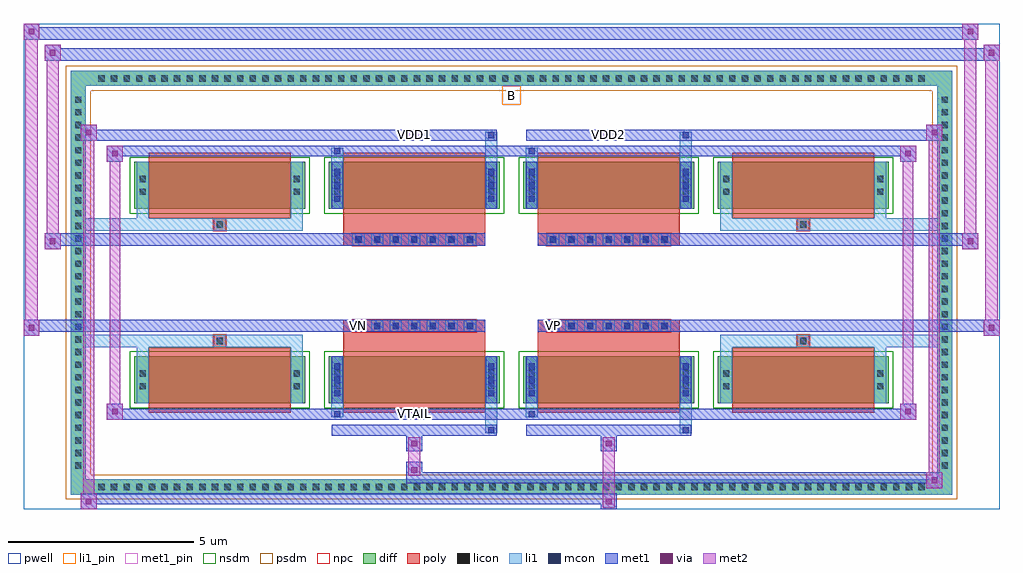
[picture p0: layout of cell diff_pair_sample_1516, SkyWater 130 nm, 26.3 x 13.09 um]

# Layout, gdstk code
import gdstk
lib = gdstk.Library(unit=1e-6, precision=5e-09)
def R(c, l, rs):  # rectangles x0, y0, x1, y1
    for r in rs: c.add(gdstk.rectangle(r[:2], r[2:], *l))
def A(c, l, x, y, w, h, nx, ny, dx, dy):  # array of equal rectangles
    R(c, l, [(x+i*dx, y+j*dy, x+i*dx+w, y+j*dy+h) for i in range(nx) for j in range(ny)])
def P(c, l, *ps):  # polygons
    for p in ps: c.add(gdstk.Polygon(p, *l))
pwell = (64, 44)
diff = (65, 20)
poly = (66, 20)
licon = (66, 44)
li1_pin = (67, 16)
li1 = (67, 20)
mcon = (67, 44)
met1_pin = (68, 16)
met1 = (68, 20)
via = (68, 44)
met2 = (69, 20)
nsdm = (93, 44)
psdm = (94, 20)
npc = (95, 20)

diff_pair_sample_1516 = lib.new_cell('diff_pair_sample_1516')
R(diff_pair_sample_1516, pwell, [(-13.15,-6.11,13.15,6.98), (-10.47,-4.3,-0.01,-0.8), (0.01,-4.3,10.47,-0.8), (-10.47,0.8,-0.01,4.3), (0.01,0.8,10.47,4.3)])
A(diff_pair_sample_1516, diff, -11.255, -5.71, 0.41, 0.41, 66, 2, 0.34, 11.01)
A(diff_pair_sample_1516, diff, -11.88, -5.135, 0.41, 0.41, 1, 30, 0, 0.34)
A(diff_pair_sample_1516, diff, 11.47, -5.135, 0.41, 0.41, 1, 30, 0, 0.34)
A(diff_pair_sample_1516, diff, -10.16, -3.255, 4.6, 1.27, 4, 2, 5.24, 5.24)
R(diff_pair_sample_1516, diff, [(-11.255,-5.71,11.255,-5.3), (-11.88,-5.135,-11.47,5.135), (11.47,-5.135,11.88,5.135), (-11.255,5.3,11.255,5.71)])
P(diff_pair_sample_1516, diff, [(11.88,5.71),(-11.88,5.71),(-11.88,-5.3),(-11.47,-5.3),(-11.47,5.3),(11.47,5.3),(11.47,-5.3),(-11.47,-5.3),(-11.88,-5.3),(-11.88,-5.71),(11.88,-5.71)])
A(diff_pair_sample_1516, poly, -9.77, -3.505, 3.82, 1.77, 4, 2, 5.24, 5.24)
A(diff_pair_sample_1516, poly, -4.285, -1.33, 0.33, 0.33, 7, 2, 0.5, 2.33)
A(diff_pair_sample_1516, poly, 0.955, -1.33, 0.33, 0.33, 7, 2, 0.5, 2.33)
R(diff_pair_sample_1516, poly, [(-8.025,-1.735,-7.695,-1.405), (-8.025,-1.735,-7.695,-1.405), (-4.53,-1.735,-0.71,-1.33), (0.71,-1.735,4.53,-1.33), (7.695,-1.735,8.025,-1.405), (7.695,-1.735,8.025,-1.405), (-4.53,-1.33,-0.71,-1), (0.71,-1.33,4.53,-1), (-4.53,1,-0.71,1.33), (0.71,1,4.53,1.33), (-4.53,1.33,-0.71,1.735), (0.71,1.33,4.53,1.735), (-8.025,1.405,-7.695,1.735), (-8.025,1.405,-7.695,1.735), (7.695,1.405,8.025,1.735), (7.695,1.405,8.025,1.735)])
A(diff_pair_sample_1516, licon, -11.135, -5.59, 0.17, 0.17, 66, 2, 0.34, 11.01)
A(diff_pair_sample_1516, licon, -11.76, -5.015, 0.17, 0.17, 1, 30, 0, 0.34)
A(diff_pair_sample_1516, licon, 11.59, -5.015, 0.17, 0.17, 1, 30, 0, 0.34)
A(diff_pair_sample_1516, licon, -4.205, -1.25, 0.17, 0.17, 7, 2, 0.5, 2.33)
A(diff_pair_sample_1516, licon, 1.035, -1.25, 0.17, 0.17, 7, 2, 0.5, 2.33)
R(diff_pair_sample_1516, licon, [(-10.02,-2.875,-9.85,-2.705), (-5.87,-2.875,-5.7,-2.705), (-4.78,-2.875,-4.61,-2.705), (-0.63,-2.875,-0.46,-2.705), (0.46,-2.875,0.63,-2.705), (4.61,-2.875,4.78,-2.705), (5.7,-2.875,5.87,-2.705), (9.85,-2.875,10.02,-2.705), (-10.02,-2.535,-9.85,-2.365), (-5.87,-2.535,-5.7,-2.365), (-4.78,-2.535,-4.61,-2.365), (-0.63,-2.535,-0.46,-2.365), (0.46,-2.535,0.63,-2.365), (4.61,-2.535,4.78,-2.365), (5.7,-2.535,5.87,-2.365), (9.85,-2.535,10.02,-2.365), (-7.945,-1.655,-7.775,-1.485), (7.775,-1.655,7.945,-1.485), (-7.945,1.485,-7.775,1.655), (7.775,1.485,7.945,1.655), (-10.02,2.365,-9.85,2.535), (-5.87,2.365,-5.7,2.535), (-4.78,2.365,-4.61,2.535), (-0.63,2.365,-0.46,2.535), (0.46,2.365,0.63,2.535), (4.61,2.365,4.78,2.535), (5.7,2.365,5.87,2.535), (9.85,2.365,10.02,2.535), (-10.02,2.705,-9.85,2.875), (-5.87,2.705,-5.7,2.875), (-4.78,2.705,-4.61,2.875), (-0.63,2.705,-0.46,2.875), (0.46,2.705,0.63,2.875), (4.61,2.705,4.78,2.875), (5.7,2.705,5.87,2.875), (9.85,2.705,10.02,2.875)])
R(diff_pair_sample_1516, li1_pin, [(-0.25,4.8,0.25,5.3)])
A(diff_pair_sample_1516, li1, -11.215, -5.67, 0.33, 0.33, 66, 2, 0.34, 11.01)
A(diff_pair_sample_1516, li1, -11.84, -5.095, 0.33, 0.33, 1, 30, 0, 0.34)
A(diff_pair_sample_1516, li1, 11.51, -5.095, 0.33, 0.33, 1, 30, 0, 0.34)
A(diff_pair_sample_1516, li1, -4.78, -3.065, 0.17, 0.17, 1, 3, 0, 0.36)
A(diff_pair_sample_1516, li1, -0.63, -3.065, 0.17, 0.17, 1, 3, 0, 0.36)
A(diff_pair_sample_1516, li1, 0.46, -3.065, 0.17, 0.17, 1, 3, 0, 0.36)
A(diff_pair_sample_1516, li1, 4.61, -3.065, 0.17, 0.17, 1, 3, 0, 0.36)
A(diff_pair_sample_1516, li1, -4.285, -1.33, 0.33, 0.33, 7, 2, 0.5, 2.33)
A(diff_pair_sample_1516, li1, 0.955, -1.33, 0.33, 0.33, 7, 2, 0.5, 2.33)
A(diff_pair_sample_1516, li1, -4.78, 2.175, 0.17, 0.17, 1, 3, 0, 0.36)
A(diff_pair_sample_1516, li1, -0.63, 2.175, 0.17, 0.17, 1, 3, 0, 0.36)
A(diff_pair_sample_1516, li1, 0.46, 2.175, 0.17, 0.17, 1, 3, 0, 0.36)
A(diff_pair_sample_1516, li1, 4.61, 2.175, 0.17, 0.17, 1, 3, 0, 0.36)
R(diff_pair_sample_1516, li1, [(-11.88,-5.71,-11.47,-5.3), (-11.88,-5.71,-11.47,-5.3), (-11.47,-5.71,11.47,-5.3), (11.47,-5.71,11.88,-5.3), (11.47,-5.71,11.88,-5.3), (-11.88,-5.3,-11.47,5.3), (11.47,-5.3,11.88,5.3), (-0.71,-4.06,-0.38,-3.255), (-0.63,-4.06,-0.46,-3.89), (4.53,-4.06,4.86,-3.255), (4.61,-4.06,4.78,-3.89), (-4.86,-3.63,-4.53,-3.255), (-4.78,-3.63,-4.61,-3.46), (0.38,-3.63,0.71,-3.255), (0.46,-3.63,0.63,-3.46), (-10.1,-3.255,-9.77,-1.985), (-5.95,-3.255,-5.62,-1.985), (-4.86,-3.255,-4.53,-1.985), (-0.71,-3.255,-0.38,-1.985), (0.38,-3.255,0.71,-1.985), (4.53,-3.255,4.86,-1.985), (5.62,-3.255,5.95,-1.985), (9.77,-3.255,10.1,-1.985), (-4.78,-3.065,-4.61,-2.175), (-0.63,-3.065,-0.46,-2.175), (0.46,-3.065,0.63,-2.175), (4.61,-3.065,4.78,-2.175), (-10.1,-2.955,-9.77,-2.625), (-5.95,-2.955,-5.62,-2.625), (-4.86,-2.955,-4.53,-2.625), (-0.71,-2.955,-0.38,-2.625), (0.38,-2.955,0.71,-2.625), (4.53,-2.955,4.86,-2.625), (5.62,-2.955,5.95,-2.625), (9.77,-2.955,10.1,-2.625), (-10.1,-2.615,-9.77,-2.285), (-5.95,-2.615,-5.62,-2.285), (-4.86,-2.615,-4.53,-2.285), (-0.71,-2.615,-0.38,-2.285), (0.38,-2.615,0.71,-2.285), (4.53,-2.615,4.86,-2.285), (5.62,-2.615,5.95,-2.285), (9.77,-2.615,10.1,-2.285), (-10.1,-1.985,-9.77,-1.405), (-5.95,-1.985,-5.62,-1.405), (5.62,-1.985,5.95,-1.405), (9.77,-1.985,10.1,-1.405), (-11.88,-1.735,-8.025,-1.405), (-10.1,-1.735,-8.025,-1.405), (-8.025,-1.735,-7.695,-1.405), (-7.695,-1.735,-5.62,-1.405), (5.62,-1.735,7.695,-1.405), (7.695,-1.735,8.025,-1.405), (7.695,-1.735,11.88,-1.405), (8.025,-1.735,10.1,-1.405), (-11.88,1.405,-8.025,1.735), (-10.1,1.405,-8.025,1.735), (-10.1,1.405,-9.77,1.985), (-8.025,1.405,-7.695,1.735), (-7.695,1.405,-5.62,1.735), (-5.95,1.405,-5.62,1.985), (5.62,1.405,7.695,1.735), (5.62,1.405,5.95,1.985), (7.695,1.405,8.025,1.735), (7.695,1.405,11.88,1.735), (8.025,1.405,10.1,1.735), (9.77,1.405,10.1,1.985), (-10.1,1.985,-9.77,3.255), (-5.95,1.985,-5.62,3.255), (-4.86,1.985,-4.53,3.255), (-0.71,1.985,-0.38,3.255), (0.38,1.985,0.71,3.255), (4.53,1.985,4.86,3.255), (5.62,1.985,5.95,3.255), (9.77,1.985,10.1,3.255), (-4.78,2.175,-4.61,3.065), (-0.63,2.175,-0.46,3.065), (0.46,2.175,0.63,3.065), (4.61,2.175,4.78,3.065), (-10.1,2.285,-9.77,2.615), (-5.95,2.285,-5.62,2.615), (-4.86,2.285,-4.53,2.615), (-0.71,2.285,-0.38,2.615), (0.38,2.285,0.71,2.615), (4.53,2.285,4.86,2.615), (5.62,2.285,5.95,2.615), (9.77,2.285,10.1,2.615), (-10.1,2.625,-9.77,2.955), (-5.95,2.625,-5.62,2.955), (-4.86,2.625,-4.53,2.955), (-0.71,2.625,-0.38,2.955), (0.38,2.625,0.71,2.955), (4.53,2.625,4.86,2.955), (5.62,2.625,5.95,2.955), (9.77,2.625,10.1,2.955), (-4.86,3.255,-4.53,3.63), (-0.71,3.255,-0.38,4.06), (0.38,3.255,0.71,3.63), (4.53,3.255,4.86,4.06), (-4.78,3.46,-4.61,3.63), (0.46,3.46,0.63,3.63), (-0.63,3.89,-0.46,4.06), (4.61,3.89,4.78,4.06), (-11.88,5.3,-11.47,5.71), (-11.88,5.3,-11.47,5.71), (-11.47,5.3,11.47,5.71), (11.47,5.3,11.88,5.71), (11.47,5.3,11.88,5.71)])
A(diff_pair_sample_1516, mcon, -4.78, -3.065, 0.17, 0.17, 1, 3, 0, 0.36)
A(diff_pair_sample_1516, mcon, -0.63, -3.065, 0.17, 0.17, 1, 3, 0, 0.36)
A(diff_pair_sample_1516, mcon, 0.46, -3.065, 0.17, 0.17, 1, 3, 0, 0.36)
A(diff_pair_sample_1516, mcon, 4.61, -3.065, 0.17, 0.17, 1, 3, 0, 0.36)
A(diff_pair_sample_1516, mcon, -4.205, -1.25, 0.17, 0.17, 7, 2, 0.5, 2.33)
A(diff_pair_sample_1516, mcon, 1.035, -1.25, 0.17, 0.17, 7, 2, 0.5, 2.33)
A(diff_pair_sample_1516, mcon, -4.78, 2.175, 0.17, 0.17, 1, 3, 0, 0.36)
A(diff_pair_sample_1516, mcon, -0.63, 2.175, 0.17, 0.17, 1, 3, 0, 0.36)
A(diff_pair_sample_1516, mcon, 0.46, 2.175, 0.17, 0.17, 1, 3, 0, 0.36)
A(diff_pair_sample_1516, mcon, 4.61, 2.175, 0.17, 0.17, 1, 3, 0, 0.36)
R(diff_pair_sample_1516, mcon, [(-0.63,-4.06,-0.46,-3.89), (4.61,-4.06,4.78,-3.89), (-4.78,-3.63,-4.61,-3.46), (0.46,-3.63,0.63,-3.46), (-4.78,3.46,-4.61,3.63), (0.46,3.46,0.63,3.63), (-0.63,3.89,-0.46,4.06), (4.61,3.89,4.78,4.06)])
R(diff_pair_sample_1516, met1_pin, [(-2.755,-3.67,-2.485,-3.4), (-4.255,-1.29,-3.985,-1.02), (0.985,-1.29,1.255,-1.02), (-2.755,3.85,-2.485,4.12), (2.485,3.85,2.755,4.12)])
A(diff_pair_sample_1516, met1, -4.84, -3.125, 0.29, 0.29, 1, 3, 0, 0.36)
A(diff_pair_sample_1516, met1, -0.69, -3.125, 0.29, 0.29, 1, 3, 0, 0.36)
A(diff_pair_sample_1516, met1, 0.4, -3.125, 0.29, 0.29, 1, 3, 0, 0.36)
A(diff_pair_sample_1516, met1, 4.55, -3.125, 0.29, 0.29, 1, 3, 0, 0.36)
A(diff_pair_sample_1516, met1, -4.265, -1.31, 0.29, 0.29, 7, 2, 0.5, 2.33)
A(diff_pair_sample_1516, met1, 0.975, -1.31, 0.29, 0.29, 7, 2, 0.5, 2.33)
A(diff_pair_sample_1516, met1, -4.84, 2.115, 0.29, 0.29, 1, 3, 0, 0.36)
A(diff_pair_sample_1516, met1, -0.69, 2.115, 0.29, 0.29, 1, 3, 0, 0.36)
A(diff_pair_sample_1516, met1, 0.4, 2.115, 0.29, 0.29, 1, 3, 0, 0.36)
A(diff_pair_sample_1516, met1, 4.55, 2.115, 0.29, 0.29, 1, 3, 0, 0.36)
R(diff_pair_sample_1516, met1, [(-11.61,-6.11,-11.18,-5.68), (2.405,-6.11,2.835,-5.68), (-11.61,-5.97,2.835,-5.68), (11.18,-5.54,11.61,-5.11), (-2.835,-5.4,11.61,-5.11), (-2.835,-5.26,-2.405,-4.83), (-2.835,-4.55,-2.405,-4.12), (2.405,-4.55,2.835,-4.12), (-4.84,-4.12,-0.4,-3.83), (-0.69,-4.12,-0.4,-3.83), (0.4,-4.12,4.84,-3.83), (4.55,-4.12,4.84,-3.83), (-10.9,-3.69,-10.47,-3.26), (-10.9,-3.69,-4.84,-3.4), (-4.84,-3.69,-4.55,-3.4), (-4.84,-3.69,-0.4,-3.4), (-0.4,-3.69,0.4,-3.4), (0.4,-3.69,0.69,-3.4), (0.4,-3.69,4.84,-3.4), (4.84,-3.69,10.9,-3.4), (10.47,-3.69,10.9,-3.26), (-4.84,-3.255,-4.55,-1.985), (-0.69,-3.255,-0.4,-1.985), (0.4,-3.255,0.69,-1.985), (4.55,-3.255,4.84,-1.985), (-13.15,-1.43,-12.72,-1), (12.72,-1.43,13.15,-1), (-13.15,-1.33,-0.71,-1), (-4.53,-1.33,-0.71,-1), (0.71,-1.33,4.53,-1), (0.71,-1.33,13.15,-1), (-12.58,0.9,-12.15,1.33), (12.15,0.9,12.58,1.33), (-12.58,1,-4.53,1.33), (-4.53,1,-0.71,1.33), (0.71,1,4.53,1.33), (4.53,1,12.58,1.33), (-4.84,1.985,-4.55,3.255), (-0.69,1.985,-0.4,3.255), (0.4,1.985,0.69,3.255), (4.55,1.985,4.84,3.255), (-10.9,3.26,-10.47,3.69), (10.47,3.26,10.9,3.69), (-10.9,3.4,-4.84,3.69), (-4.84,3.4,-4.55,3.69), (-4.84,3.4,-0.4,3.69), (-0.4,3.4,0.4,3.69), (0.4,3.4,0.69,3.69), (0.4,3.4,4.84,3.69), (4.84,3.4,10.9,3.69), (-11.61,3.83,-11.18,4.26), (-11.61,3.83,-4.84,4.12), (-4.84,3.83,-0.4,4.12), (-0.69,3.83,-0.4,4.12), (0.4,3.83,4.84,4.12), (4.55,3.83,4.84,4.12), (4.84,3.83,11.61,4.12), (11.18,3.83,11.61,4.26), (-12.58,5.98,-12.15,6.41), (-12.58,5.98,-10.47,6.31), (-10.47,5.98,10.47,6.31), (10.47,5.98,13.15,6.31), (12.72,5.98,13.15,6.41), (-13.15,6.55,-12.72,6.98), (-13.15,6.55,-10.47,6.88), (-10.47,6.55,10.47,6.88), (10.47,6.55,12.58,6.88), (12.15,6.55,12.58,6.98)])
R(diff_pair_sample_1516, via, [(-11.47,-5.97,-11.32,-5.82), (2.545,-5.97,2.695,-5.82), (11.32,-5.4,11.47,-5.25), (-2.695,-5.12,-2.545,-4.97), (-2.695,-4.41,-2.545,-4.26), (2.545,-4.41,2.695,-4.26), (-10.76,-3.55,-10.61,-3.4), (10.61,-3.55,10.76,-3.4), (-13.01,-1.29,-12.86,-1.14), (12.86,-1.29,13.01,-1.14), (-12.44,1.04,-12.29,1.19), (12.29,1.04,12.44,1.19), (-10.76,3.4,-10.61,3.55), (10.61,3.4,10.76,3.55), (-11.47,3.97,-11.32,4.12), (11.32,3.97,11.47,4.12), (-12.44,6.12,-12.29,6.27), (12.86,6.12,13.01,6.27), (-13.01,6.69,-12.86,6.84), (12.29,6.69,12.44,6.84)])
R(diff_pair_sample_1516, met2, [(-11.61,-6.11,-11.18,-5.68), (-11.54,-6.11,-11.25,4.26), (-11.25,-6.11,-11.18,-5.68), (-11.56,-6.06,-11.23,-5.73), (2.455,-6.06,2.785,-5.73), (2.455,-5.73,2.785,-4.5), (11.18,-5.54,11.61,-5.11), (11.25,-5.54,11.54,4.26), (11.54,-5.54,11.61,-5.11), (11.23,-5.49,11.56,-5.16), (-2.785,-5.21,-2.455,-4.88), (-2.785,-4.88,-2.455,-4.5), (-2.785,-4.5,-2.455,-4.17), (2.455,-4.5,2.785,-4.17), (-10.9,-3.69,-10.47,-3.26), (-10.83,-3.69,-10.54,3.69), (-10.54,-3.69,-10.47,-3.26), (10.47,-3.69,10.9,-3.26), (10.54,-3.69,10.83,3.69), (10.83,-3.69,10.9,-3.26), (-10.85,-3.64,-10.52,-3.31), (10.52,-3.64,10.85,-3.31), (-13.15,-1.43,-12.72,-1), (-13.1,-1.43,-12.77,6.98), (-12.77,-1.43,-12.72,-1), (12.72,-1.43,13.15,-1), (12.77,-1.43,13.1,6.41), (13.1,-1.43,13.15,-1), (-13.1,-1.38,-12.77,-1.05), (12.77,-1.38,13.1,-1.05), (-12.58,0.9,-12.15,1.33), (-12.53,0.9,-12.2,6.41), (-12.2,0.9,-12.15,1.33), (12.15,0.9,12.58,1.33), (12.2,0.9,12.53,6.98), (12.53,0.9,12.58,1.33), (-12.53,0.95,-12.2,1.28), (12.2,0.95,12.53,1.28), (-10.9,3.26,-10.47,3.69), (-10.54,3.26,-10.47,3.69), (10.47,3.26,10.9,3.69), (10.83,3.26,10.9,3.69), (-10.85,3.31,-10.52,3.64), (10.52,3.31,10.85,3.64), (-11.61,3.83,-11.18,4.26), (-11.25,3.83,-11.18,4.26), (11.18,3.83,11.61,4.26), (11.54,3.83,11.61,4.26), (-11.56,3.88,-11.23,4.21), (11.23,3.88,11.56,4.21), (-12.58,5.98,-12.15,6.41), (-12.2,5.98,-12.15,6.41), (12.72,5.98,13.15,6.41), (13.1,5.98,13.15,6.41), (-12.53,6.03,-12.2,6.36), (12.77,6.03,13.1,6.36), (-13.15,6.55,-12.72,6.98), (-12.77,6.55,-12.72,6.98), (12.15,6.55,12.58,6.98), (12.53,6.55,12.58,6.98), (-13.1,6.6,-12.77,6.93), (12.2,6.6,12.53,6.93)])
A(diff_pair_sample_1516, nsdm, -10.29, -3.385, 4.86, 1.53, 4, 2, 5.24, 5.24)
P(diff_pair_sample_1516, psdm, [(12.01,5.84),(-12.01,5.84),(-12.01,-5.17),(-11.34,-5.17),(-11.34,5.17),(11.34,5.17),(11.34,-5.17),(-11.34,-5.17),(-12.01,-5.17),(-12.01,-5.84),(12.01,-5.84)])
A(diff_pair_sample_1516, npc, -4.305, -1.35, 0.37, 0.37, 7, 2, 0.5, 2.33)
A(diff_pair_sample_1516, npc, 0.935, -1.35, 0.37, 0.37, 7, 2, 0.5, 2.33)
R(diff_pair_sample_1516, npc, [(-8.045,-1.755,-7.675,-1.385), (7.675,-1.755,8.045,-1.385), (-4.305,-1.35,-3.435,-0.98), (-4.305,-1.35,-3.435,-0.98), (-3.805,-1.35,-2.935,-0.98), (-3.805,-1.35,-2.935,-0.98), (-3.305,-1.35,-2.435,-0.98), (-3.305,-1.35,-2.435,-0.98), (-2.805,-1.35,-1.935,-0.98), (-2.805,-1.35,-1.935,-0.98), (-2.305,-1.35,-1.435,-0.98), (-2.305,-1.35,-1.435,-0.98), (-1.805,-1.35,-0.935,-0.98), (-1.805,-1.35,-0.935,-0.98), (0.935,-1.35,1.805,-0.98), (0.935,-1.35,1.805,-0.98), (1.435,-1.35,2.305,-0.98), (1.435,-1.35,2.305,-0.98), (1.935,-1.35,2.805,-0.98), (1.935,-1.35,2.805,-0.98), (2.435,-1.35,3.305,-0.98), (2.435,-1.35,3.305,-0.98), (2.935,-1.35,3.805,-0.98), (2.935,-1.35,3.805,-0.98), (3.435,-1.35,4.305,-0.98), (3.435,-1.35,4.305,-0.98), (-4.305,0.98,-3.435,1.35), (-4.305,0.98,-3.435,1.35), (-3.805,0.98,-2.935,1.35), (-3.805,0.98,-2.935,1.35), (-3.305,0.98,-2.435,1.35), (-3.305,0.98,-2.435,1.35), (-2.805,0.98,-1.935,1.35), (-2.805,0.98,-1.935,1.35), (-2.305,0.98,-1.435,1.35), (-2.305,0.98,-1.435,1.35), (-1.805,0.98,-0.935,1.35), (-1.805,0.98,-0.935,1.35), (0.935,0.98,1.805,1.35), (0.935,0.98,1.805,1.35), (1.435,0.98,2.305,1.35), (1.435,0.98,2.305,1.35), (1.935,0.98,2.805,1.35), (1.935,0.98,2.805,1.35), (2.435,0.98,3.305,1.35), (2.435,0.98,3.305,1.35), (2.935,0.98,3.805,1.35), (2.935,0.98,3.805,1.35), (3.435,0.98,4.305,1.35), (3.435,0.98,4.305,1.35), (-8.045,1.385,-7.675,1.755), (7.675,1.385,8.045,1.755)])
diff_pair_sample_1516.add(gdstk.Label('VTAIL', (-2.62,-3.535), layer=68, texttype=5))
diff_pair_sample_1516.add(gdstk.Label('VN', (-4.12,-1.155), layer=68, texttype=5))
diff_pair_sample_1516.add(gdstk.Label('VP', (1.12,-1.155), layer=68, texttype=5))
diff_pair_sample_1516.add(gdstk.Label('B', (0,5.05), layer=67, texttype=5))
diff_pair_sample_1516.add(gdstk.Label('VDD2', (2.62,3.985), layer=68, texttype=5))
diff_pair_sample_1516.add(gdstk.Label('VDD1', (-2.62,3.985), layer=68, texttype=5))

lib.write_gds('diff_pair_sample_1516.gds')
